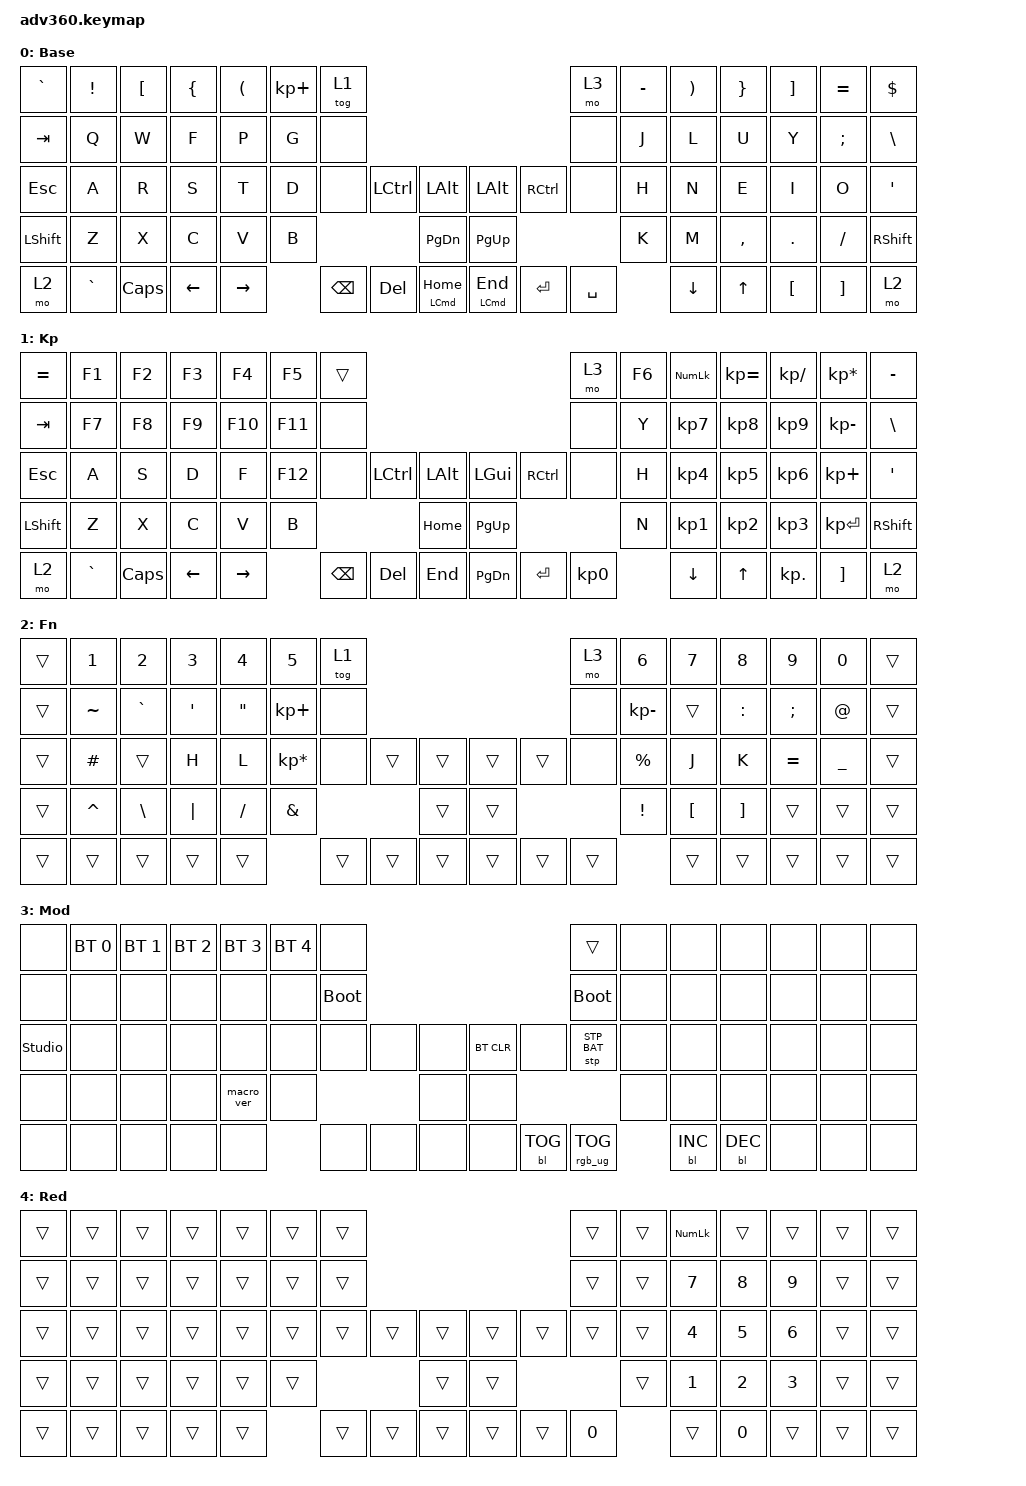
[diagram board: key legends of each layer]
#include <dt-bindings/zmk/stp.h>
#include <behaviors.dtsi>
#include <dt-bindings/zmk/backlight.h>
#include <dt-bindings/zmk/bt.h>
#include <dt-bindings/zmk/keys.h>
#include <dt-bindings/zmk/rgb.h>

/ {
    behaviors {
        #include "macros.dtsi"
      #include "version.dtsi"

        hm: homerow_mods {
            compatible = "zmk,behavior-hold-tap";
            label = "HOMEROW_MODS";
            #binding-cells = <2>;
            tapping-term-ms = <200>;
            quick_tap_ms = <175>;
            flavor = "tap-preferred";
            bindings = <&kp>, <&kp>;
        };
    };

    keymap {
        compatible = "zmk,keymap";

        default_layer {
            display-name = "Base";
            bindings = <
&kp GRAVE  &kp EXCL   &kp LEFT_BRACKET  &kp LEFT_BRACE  &kp LEFT_PARENTHESIS  &kp KP_PLUS  &tog 1                                                                           &mo 3      &kp MINUS  &kp RIGHT_PARENTHESIS  &kp RIGHT_BRACE  &kp RIGHT_BRACKET  &kp EQUAL      &kp DOLLAR
&kp TAB    &kp Q      &kp W             &kp F           &kp P                 &kp G        &none                                                                            &none      &kp J      &kp L                  &kp U            &kp Y              &kp SEMICOLON  &kp BSLH
&kp ESC    &kp A      &kp R             &kp S           &kp T                 &kp D        &none     &kp LCTRL  &kp LALT                   &kp LEFT_ALT          &kp RCTRL  &none      &kp H      &kp N                  &kp E            &kp I              &kp O          &kp SQT
&kp LSHFT  &kp Z      &kp X             &kp C           &kp V                 &kp B                             &kp PG_DN                  &kp PG_UP                                   &kp K      &kp M                  &kp COMMA        &kp DOT            &kp FSLH       &kp RSHFT
&mo 2      &kp GRAVE  &kp CAPS          &kp LEFT        &kp RIGHT                          &kp BSPC  &kp DEL    &mt LEFT_COMMAND HOME      &mt LEFT_COMMAND END  &kp ENTER  &kp SPACE             &kp DOWN               &kp UP           &kp LBKT           &kp RBKT       &mo 2
            >;
        };

        keypad {
            display-name = "Kp";
            bindings = <
&kp EQUAL  &kp F1     &kp F2    &kp F3    &kp F4     &kp F5   &trans                                                   &mo 3      &kp F6  &kp KP_NUM  &kp KP_EQUAL  &kp KP_DIVIDE  &kp KP_MULTIPLY  &kp MINUS
&kp TAB    &kp F7     &kp F8    &kp F9    &kp F10    &kp F11  &none                                                    &none      &kp Y   &kp KP_N7   &kp KP_N8     &kp KP_N9      &kp KP_MINUS     &kp BSLH
&kp ESC    &kp A      &kp S     &kp D     &kp F      &kp F12  &none     &kp LCTRL  &kp LALT      &kp LGUI   &kp RCTRL  &none      &kp H   &kp KP_N4   &kp KP_N5     &kp KP_N6      &kp KP_PLUS      &kp SQT
&kp LSHFT  &kp Z      &kp X     &kp C     &kp V      &kp B                         &kp HOME      &kp PG_UP                        &kp N   &kp KP_N1   &kp KP_N2     &kp KP_N3      &kp KP_ENTER     &kp RSHFT
&mo 2      &kp GRAVE  &kp CAPS  &kp LEFT  &kp RIGHT           &kp BSPC  &kp DEL    &kp END       &kp PG_DN  &kp ENTER  &kp KP_N0          &kp DOWN    &kp UP        &kp KP_DOT     &kp RBKT         &mo 2
            >;
        };

        fn {
            display-name = "Fn";
            bindings = <
&trans  &kp N1     &kp N2         &kp N3            &kp N4             &kp N5           &tog 1                                      &mo 3   &kp N6           &kp N7            &kp N8             &kp N9     &kp N0          &trans
&trans  &kp TILDE  &kp GRAVE      &kp SINGLE_QUOTE  &kp DOUBLE_QUOTES  &kp KP_PLUS      &none                                       &none   &kp KP_MINUS     &trans            &kp COLON          &kp SEMI   &kp AT_SIGN     &trans
&trans  &kp POUND  &trans         &kp H             &kp L              &kp KP_ASTERISK  &none   &trans  &trans      &trans  &trans  &none   &kp PERCENT      &kp J             &kp K              &kp EQUAL  &kp UNDERSCORE  &trans
&trans  &kp CARET  &kp BACKSLASH  &kp PIPE          &kp SLASH          &kp AMPERSAND                    &trans      &trans                  &kp EXCLAMATION  &kp LEFT_BRACKET  &kp RIGHT_BRACKET  &trans     &trans          &trans
&trans  &trans     &trans         &trans            &trans                              &trans  &trans  &trans      &trans  &trans  &trans                   &trans            &trans             &trans     &trans          &trans
            >;
        };

        mod {
            display-name = "Mod";
            bindings = <
&none           &bt BT_SEL 0  &bt BT_SEL 1  &bt BT_SEL 2  &bt BT_SEL 3  &bt BT_SEL 4  &none                                                  &trans           &none  &none       &none       &none  &none  &none
&none           &none         &none         &none         &none         &none         &bootloader                                            &bootloader      &none  &none       &none       &none  &none  &none
&studio_unlock  &none         &none         &none         &none         &none         &none        &none  &none      &bt BT_CLR  &none       &stp STP_BAT     &none  &none       &none       &none  &none  &none
&none           &none         &none         &none         &macro_ver    &none                             &none      &none                                    &none  &none       &none       &none  &none  &none
&none           &none         &none         &none         &none                       &none        &none  &none      &none       &bl BL_TOG  &rgb_ug RGB_TOG         &bl BL_INC  &bl BL_DEC  &none  &none  &none
            >;
        };

        layer_4 {
            bindings = <
&trans  &trans  &trans  &trans  &trans  &trans  &trans                                      &trans  &trans  &kp KP_NUM  &trans  &trans  &trans  &trans
&trans  &trans  &trans  &trans  &trans  &trans  &trans                                      &trans  &trans  &kp N7      &kp N8  &kp N9  &trans  &trans
&trans  &trans  &trans  &trans  &trans  &trans  &trans  &trans  &trans      &trans  &trans  &trans  &trans  &kp N4      &kp N5  &kp N6  &trans  &trans
&trans  &trans  &trans  &trans  &trans  &trans                  &trans      &trans                  &trans  &kp N1      &kp N2  &kp N3  &trans  &trans
&trans  &trans  &trans  &trans  &trans          &trans  &trans  &trans      &trans  &trans  &kp N0          &trans      &kp N0  &trans  &trans  &trans
            >;

            label = "Red";
        };
    };
};
